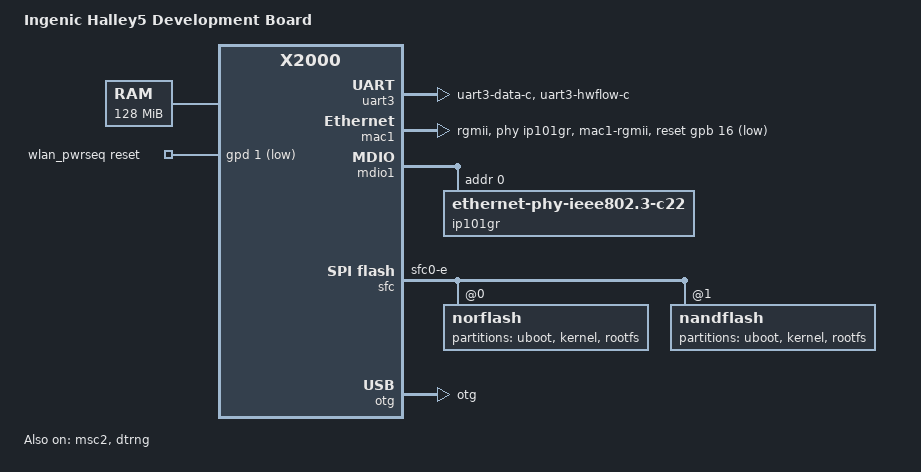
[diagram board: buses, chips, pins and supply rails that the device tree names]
/dts-v1/;

#include "x2000.dtsi"
#include <dt-bindings/gpio/gpio.h>
#include <dt-bindings/input/input.h>
#include <dt-bindings/clock/ingenic,sysost.h>
#include <dt-bindings/interrupt-controller/irq.h>


/ {
	compatible = "ingenic,halley5", "ingenic,x2000";
	model = "Ingenic Halley5 Development Board";

	aliases: aliases {
		serial0 = &uart0;
		serial2 = &uart2;
		serial3 = &uart3;
	};

	chosen {
		stdout-path = "serial3:115200n8";
	};

	memory {
		device_type = "memory";
		reg = <0x0 0x08000000>;
	};

	wlan_pwrseq: msc1-pwrseq {
		compatible = "mmc-pwrseq-simple";

		reset-gpios = <&gpd 1 GPIO_ACTIVE_LOW>;
		post-power-on-delay-ms = <200>;
		enable-active-high;
	};
};

&exclk {
	clock-frequency = <24000000>;
};

&ost64 {
	/* 6 MHz for the clocksource */
	assigned-clocks = <&ost64 OST_CLK_GLOBAL_TIMER>;
	assigned-clock-rates = <6000000>;
};

&ost32 {
	/* 6 MHz for the system timers */
	assigned-clocks = <&ost32 OST_CLK_EVENT_TIMER0>, <&ost32 OST_CLK_EVENT_TIMER1>;
	assigned-clock-rates = <6000000>, <6000000>;
};

&uart3 {
	status = "okay";

	pinctrl-names = "default";
	pinctrl-0 = <&pins_uart3>;
};

&i2c4 {
	status = "disable";

	clock-frequency = <400000>;

	pinctrl-names = "default";
	pinctrl-0 = <&pins_i2c4>;

	gt911: touchscreen@14{
		compatible = "goodix,gt911";
		reg = <0x14>;

		interrupt-parent = <&gpc>;
		interrupts = <27 IRQ_TYPE_EDGE_FALLING>;

		irq-gpios = <&gpc 27 GPIO_ACTIVE_HIGH>;
	};
};

&pdma {
	status = "okay";
};

&msc0 {
	status = "disable";

	bus-width = <8>;
	max-frequency = <100000000>;
	voltage-ranges = <1800 3300>;

	pinctrl-names = "default";
	pinctrl-0 = <&pins_msc0>;

	non-removable;
	mmc-hs200-1_8v;
};

&msc1 {
	status = "disable";

	#address-cells = <1>;
	#size-cells = <0>;
	bus-width = <4>;
	max-frequency = <25000000>;
	voltage-ranges = <1800 3300>;

	pinctrl-names ="default";
	pinctrl-0 = <&pins_msc1>;

	no-1-8-v;
	non-removable;
	wifi-host;

	mmc-pwrseq = <&wlan_pwrseq>;

	ap6256: wifi@1 {
		compatible = "brcm,bcm4329-fmac";
		reg = <1>;

		interrupt-parent = <&gpd>;
		interrupts = <0 IRQ_TYPE_EDGE_FALLING>;
		interrupt-names = "host-wake";

		brcm,drive-strength = <8>;
	};
};

&msc2 {
	status = "okay";

	bus-width = <4>;
	max-frequency = <25000000>;
	voltage-ranges = <1800 3300>;

	pinctrl-names ="default";
	pinctrl-0 = <&pins_msc2>;
};

&mac1 {
	status = "okay";

	phy-mode = "rgmii";
	phy-handle = <&ip101gr>;

	tx-clk-delay-ps = <1250>;

	pinctrl-names = "default";
	pinctrl-0 = <&pins_mac1>;

	snps,reset-gpio = <&gpb 16 GPIO_ACTIVE_LOW>; /* PE21 */
	snps,reset-active-low;
	snps,reset-delays-us = <0 10000 30000>;
};

&mdio1 {
	status = "okay";

	ip101gr: ethernet-phy@0 {
		compatible = "ethernet-phy-ieee802.3-c22";
		reg = <0>;
	};
};

&sfc {
	status = "okay";

	pinctrl-names = "default";
	pinctrl-0 = <&pins_sfc>;
	ingenic,sfc-max-frequency = <400000000>;
	ingenic,use_ofpart_info  = /bits/ 8 <0>;
	ingenic,spiflash_param_offset = <0>;

	norflash@0 {
		partitions {
			compatible = "fixed-partitions";
			#address-cells = <1>;
			#size-cells = <1>;

			/* spi nor flash partition */
			uboot@0 {
				label = "uboot";
				reg = <0x0000000 0x40000>;
				/*read-only;*/
			};

			kernel@40000 {
				label = "kernel";
				reg = <0x40000 0x300000>;
			};

			rootfs@360000 {
				label = "rootfs";
				reg = <0x360000 0xca0000>;
			};
		};
	};

	nandflash@1 {
		partitions {
			compatible = "fixed-partitions";
			#address-cells = <1>;
			#size-cells = <1>;

			/* spi nand flash partition */
			partition@0 {
				label = "uboot";
				reg = <0x0000000 0x100000>;
				/*read-only;*/
			};

			partition@100000 {
				label = "kernel";
				reg = <0x100000 0x800000>;
			};

			partition@900000 {
				label = "rootfs";
				reg = <0x900000 0xf700000>;
			};
		};
	};
};

&spi0 {
	status = "disable";

	pinctrl-names = "default";
	pinctrl-0 = <&pins_ssi0>;

	spi-max-frequency = <54000000>;
	num-cs = <2>;
	cs-gpios = <0>, <0>;
	/*cs-gpios = <&gpa 27 GPIO_ACTIVE_HIGH>, <&gpa 27 GPIO_ACTIVE_HIGH>;*/
	ingenic,chnl = <0>;
	ingenic,allow_cs_same = <1>;
	ingenic,bus_num = <0>;
	ingenic,has_dma_support = <0>;
	ingenic,spi-src-clk = <1>;/*0.ext; 1.ssi*/

	/* Add SPI interface device */
	spidev: spidev@0 {
		compatible = "rohm,dh2228fv";
		reg = <0>;
		spi-max-frequency = <10000000>;
	};
};

&dtrng {
	status = "okay";
};

&otg {
	status = "okay";

	g-use-dma;
	dr_mode = "otg";
};

&pinctrl {
	pins_uart2: uart2 {
		function = "uart2";
		groups = "uart2-data";
		bias-pull-up;
	};

	pins_uart3: uart3 {
		function = "uart3";
		groups = "uart3-data-c", "uart3-hwflow-c";
		bias-pull-up;
	};

	pins_i2c4: i2c4 {
		function = "i2c4";
		groups = "i2c4-data-c";
		bias-pull-up;
	};

	pins_msc0: msc0 {
		function = "mmc0";
		groups = "mmc0-1bit", "mmc0-4bit", "mmc0-8bit";
		bias-disable;
	};

	pins_msc1: msc1 {
		function = "mmc1";
		groups = "mmc1-1bit", "mmc1-4bit";
		bias-disable;
	};

	pins_msc2: msc2 {
		function = "mmc2";
		groups = "mmc2-1bit", "mmc2-4bit";
		bias-disable;
	};

	pins_mac1: mac1 {
		function = "mac1";
		groups = "mac1-rgmii";
		bias-disable;
	};

	pins_sfc: sfc {
		function = "sfc";
		groups = "sfc0-e";
		bias-disable;
	};

	pins_ssi0: ssi0 {
		function = "sfc";
		groups = "ssi0-dt-b", "ssi0-dr-b", "ssi0-clk-b", "ssi0-ce0-b";
		bias-disable;
	};
};
